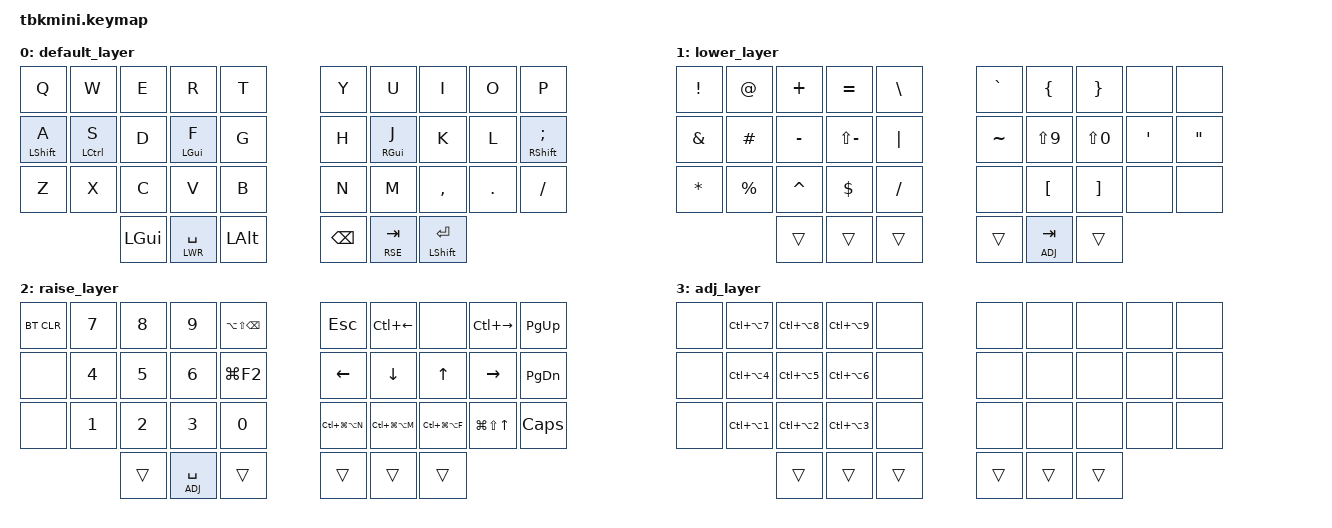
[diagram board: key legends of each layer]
#include <behaviors.dtsi>
#include <dt-bindings/zmk/keys.h>
#include <dt-bindings/zmk/bt.h>
#include <dt-bindings/zmk/outputs.h>

#define DEFAULT 0
#define LWR 1
#define RSE 2
#define ADJ 3

#define FLLSCRN LC(LG(LA(F)))
#define NXTSCRN LC(LG(LA(N)))
#define MXSCRN LC(LG(LA(M)))
#define DLTROW LA(LS(BSPC))
#define RPLACE LG(F2)

/ {
    chosen {
      zmk,matrix_transform = &skeletyl_transform;
    };

    behaviors {
        ht_hld: behavior_hold_tap_hold_preferred {
            compatible = "zmk,behavior-hold-tap";
            label = "HOLD_TAP_HOLD_PREFERRED";
            #binding-cells = <2>;
            flavor = "hold-preferred";
            tapping-term-ms = <200>;
            bindings = <&mo>, <&kp>;
        };

        bhm: balanced_homerow_mods {
            compatible = "zmk,behavior-hold-tap";
            label = "HOMEROW_MODS";
            #binding-cells = <2>;
            tapping-term-ms = <200>;    // <---[[moderate duration]]
            quick-tap-ms = <0>;
            flavor = "balanced";
            bindings = <&kp>, <&kp>;
        };
    };

    keymap {
        compatible = "zmk,keymap";

        default_layer {
            bindings = <
                &kp Q               &kp W               &kp E               &kp R           &kp T               &kp Y           &kp U           &kp I           &kp O               &kp P
                &bhm LSHIFT A       &bhm LCTRL S        &kp D               &bhm LGUI F     &kp G               &kp H           &bhm RGUI J     &kp K           &kp L               &bhm RSHIFT SEMI
                &kp Z               &kp X               &kp C               &kp V           &kp B               &kp N           &kp M           &kp COMMA       &kp DOT             &kp FSLH
                                    &kp LGUI            &lt LWR SPACE       &kp LALT                                            &kp BSPC        &ht_hld RSE TAB &mt LSHIFT RET
            >;
        };

        lower_layer {
            bindings = <
                &kp EXCL            &kp AT              &kp PLUS            &kp EQUAL       &kp BSLH            &kp GRAVE       &kp LBRC        &kp RBRC        &none               &none
                &kp AMPS            &kp HASH            &kp MINUS           &kp LS(MINUS)   &kp PIPE            &kp TILDE       &kp LS(N9)      &kp LS(N0)      &kp SQT             &kp DQT
                &kp STAR            &kp PRCNT           &kp CARET           &kp DLLR        &kp FSLH            &none           &kp LBKT        &kp RBKT        &none               &none
                                    &trans              &trans              &trans                                              &trans          &ht_hld ADJ TAB &trans
            >;
        };

        raise_layer {
            bindings = <
                &bt BT_CLR          &kp N7              &kp N8              &kp N9          &kp DLTROW          &kp ESC         &kp LC(LEFT)    &none           &kp LC(RIGHT)       &kp PG_UP
                &none               &kp N4              &kp N5              &kp N6          &kp RPLACE          &kp LEFT        &kp DOWN        &kp UP          &kp RIGHT           &kp PG_DN
                &none               &kp N1              &kp N2              &kp N3          &kp N0              &kp NXTSCRN     &kp MXSCRN      &kp FLLSCRN     &kp LG(LS(UP))      &kp CAPS
                                    &trans              &lt ADJ SPACE       &trans                                              &trans          &trans          &trans
            >;
        };

        adj_layer {
            bindings = <
                &none               &kp LC(LA(N7))      &kp LC(LA(N8))      &kp LC(LA(N9))  &none               &none           &none           &none           &none               &none
                &none               &kp LC(LA(N4))      &kp LC(LA(N5))      &kp LC(LA(N6))  &none               &none           &none           &none           &none               &none
                &none               &kp LC(LA(N1))      &kp LC(LA(N2))      &kp LC(LA(N3))  &none               &none           &none           &none           &none               &none
                                    &trans              &trans              &trans                                              &trans          &trans          &trans
            >;
        };
    };
};
